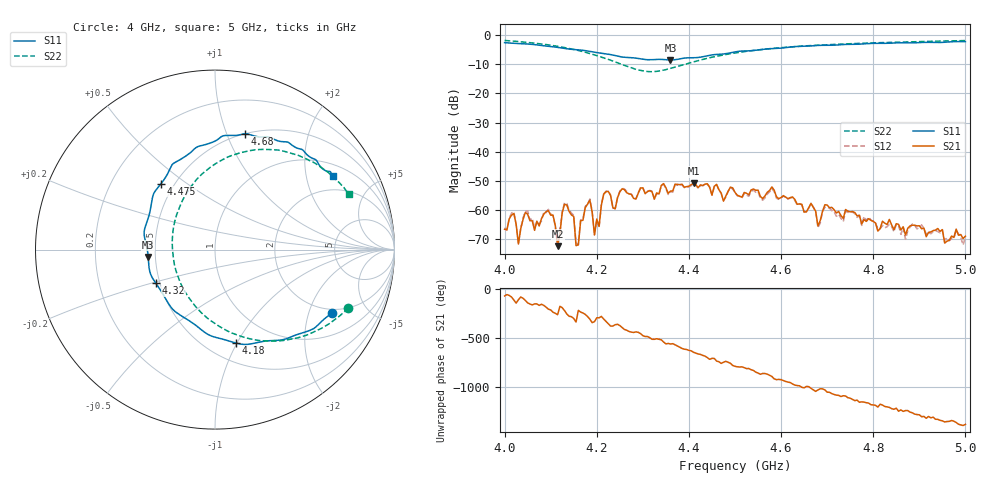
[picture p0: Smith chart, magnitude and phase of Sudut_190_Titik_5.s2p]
# Hz S RI R 50
! CMT, C1220, 16058040, 17.2.0/1
! Date: 15/08/2018 12:21:38
! Data: Format (Calibration Info)
! Freq  S11: Re/Im (F2)  S21: Re/Im (F2)  S12: Re/Im (F2)  S22: Re/Im (F2)
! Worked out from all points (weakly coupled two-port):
!   201 points, 4 GHz to 5 GHz, reference 50 ohm
!   highest |S21| = -50.88 dB at 4.41 GHz (marker M1); lowest = -72.4 dB at 4.115 GHz (marker M2)
!   lowest |S11| = -8.5 dB at 4.36 GHz (marker M3), VSWR 2.20, Z = 22.8 - j2.16 ohm
!   |S11| at or under -10 dB: nowhere
!   |S22| runs from -12.6 to -1.8 dB; largest |S21 - S12| = 0.00016
!   S11 on the Smith chart (normalised r, x): 4 GHz: 1.84, -2.89; 4.18 GHz: 0.68, -1.00; 4.32 GHz: 0.48, -0.21; 4.475 GHz: 0.42, +0.40; 4.68 GHz: 0.50, +1.16; 5 GHz: 1.40, +2.85
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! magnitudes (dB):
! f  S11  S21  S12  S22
! 4 GHz  -2.6  -66.6  -66.1  -1.8
! 4.02 GHz  -2.8  -61.2  -60.6  -2.1
! 4.03 GHz  -2.9  -71.7  -71.6  -2.2
! 4.045 GHz  -3.0  -60.9  -60.5  -2.4
! 4.095 GHz  -3.8  -60.3  -59.8  -3.3
! 4.115 GHz  -4.2  -72.4  -72.4  -3.8
! 4.13 GHz  -4.6  -58.1  -57.5  -4.3
! 4.155 GHz  -5.0  -72.2  -71.2  -5.1
! 4.17 GHz  -5.2  -63.6  -63.0  -5.7
! 4.18 GHz  -5.4  -58.0  -58.1  -6.1
! 4.195 GHz  -5.9  -68.6  -68.6  -6.8
! 4.22 GHz  -6.4  -53.8  -53.6  -8.1
! 4.32 GHz  -8.4  -53.8  -53.6  -12.6
! 4.335 GHz  -8.3  -54.5  -54.7  -12.3
! 4.36 GHz  -8.5  -53.5  -53.7  -11.4
! 4.41 GHz  -7.8  -50.9  -51.0  -9.2
! 4.475 GHz  -6.5  -57.0  -56.7  -6.8
! 4.5 GHz  -5.8  -54.0  -54.0  -6.1
! 4.67 GHz  -3.6  -59.2  -59.0  -3.5
! 4.68 GHz  -3.5  -65.5  -66.0  -3.4
! 4.835 GHz  -2.8  -63.3  -65.0  -2.5
! 5 GHz  -2.2  -69.0  -69.4  -1.9
